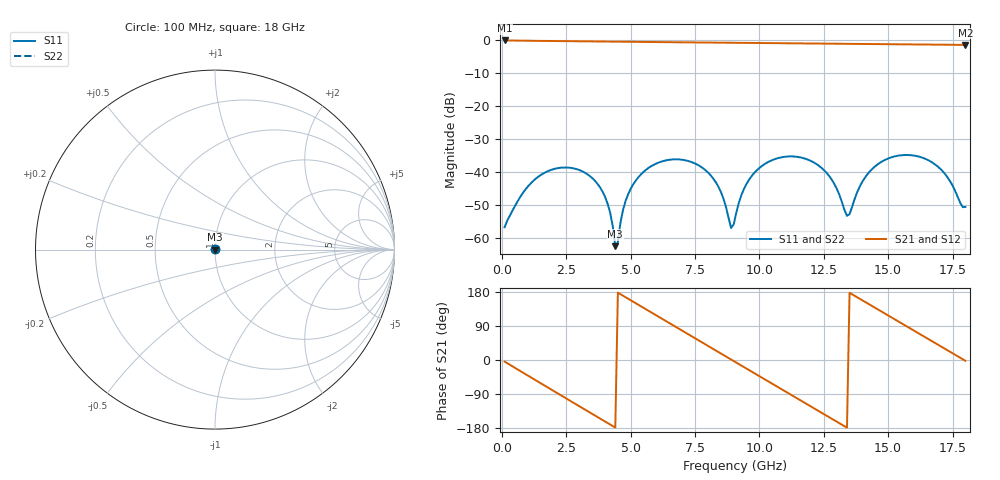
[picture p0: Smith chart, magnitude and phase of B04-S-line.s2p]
! yapnr rf coupon B: B04 S L16 (line, family S)
! stackup JLC06161H-7628, nominal parameters; reference planes 10 mm from each end; 50 ohm (renormalized from the line's Zc)
! model: 2D quasi-static RLGC (Djordjevic-Sarkar, Huray roughness, Wheeler loss); generated by python -m yapnr.rf.coupons expected
# GHz S DB R 50
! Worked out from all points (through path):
!   180 points, 100 MHz to 18 GHz, reference 50 ohm
!   highest |S21| = -0.02 dB at 100 MHz (marker M1); lowest = -1.4 dB at 18 GHz (marker M2)
!   group delay of S21, straight-line fit = 111 ps
!   lowest |S11| = -62.4 dB at 4.4 GHz (marker M3), VSWR 1.00, Z = 50.1 - j0.0212 ohm
!   |S11| at or under -10 dB: start of sweep to end of sweep
!   |S22| runs from -62.4 to -34.8 dB; largest |S21 - S12| = 0
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0.1  -56.68 28.0  -0.02 -4.2  -0.02 -4.2  -56.68 28.0
0.9  -45.34 51.1  -0.10 -37.0  -0.10 -37.0  -45.34 51.1
1.7  -39.98 30.2  -0.17 -69.4  -0.17 -69.4  -39.98 30.2
3.1  -39.66 -20.1  -0.28 -126.0  -0.28 -126.0  -39.66 -20.1
4  -47.44 -49.5  -0.36 -162.2  -0.36 -162.2  -47.44 -49.5
4.4  -62.44 -16.3  -0.39 -178.3  -0.39 -178.3  -62.44 -16.3
5  -45.00 76.6  -0.43 157.6  -0.43 157.6  -45.00 76.6
6.1  -37.02 38.1  -0.52 113.4  -0.52 113.4  -37.02 38.1
7.4  -37.03 -10.2  -0.61 61.3  -0.61 61.3  -37.03 -10.2
8.3  -42.99 -39.0  -0.68 25.2  -0.68 25.2  -42.99 -39.0
8.9  -56.92 3.5  -0.72 1.2  -0.72 1.2  -56.92 3.5
9.1  -52.27 64.2  -0.74 -6.8  -0.74 -6.8  -52.27 64.2
9.5  -43.50 71.7  -0.77 -22.8  -0.77 -22.8  -43.50 71.7
10.2  -37.53 51.1  -0.82 -50.8  -0.82 -50.8  -37.53 51.1
11.1  -35.23 19.2  -0.88 -86.8  -0.88 -86.8  -35.23 19.2
12.1  -36.99 -15.8  -0.96 -126.8  -0.96 -126.8  -36.99 -15.8
12.8  -42.15 -34.8  -1.00 -154.7  -1.00 -154.7  -42.15 -34.8
13.4  -53.22 6.5  -1.05 -178.7  -1.05 -178.7  -53.22 6.5
14.2  -40.56 63.5  -1.10 149.4  -1.10 149.4  -40.56 63.5
15.1  -35.55 36.3  -1.17 113.5  -1.17 113.5  -35.55 36.3
16.7  -36.99 -17.2  -1.28 49.7  -1.28 49.7  -36.99 -17.2
18  -50.52 27.0  -1.37 -2.1  -1.37 -2.1  -50.52 27.0
